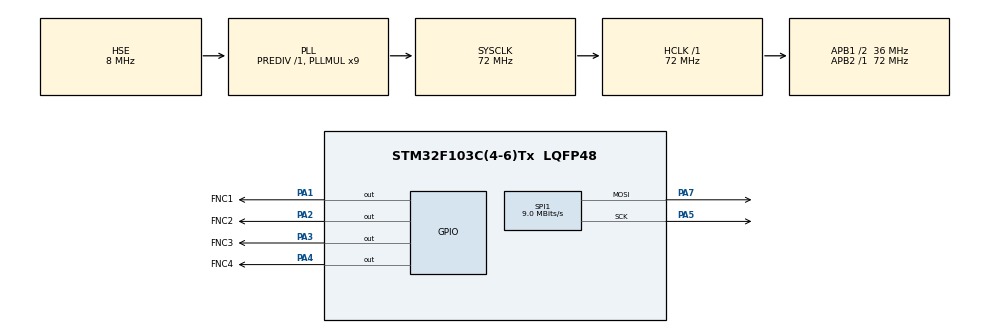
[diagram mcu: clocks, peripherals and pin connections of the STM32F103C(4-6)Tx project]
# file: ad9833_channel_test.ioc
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Mcu.Family=STM32F1
Mcu.Name=STM32F103C(4-6)Tx
Mcu.Package=LQFP48
NVIC.PriorityGroup=NVIC_PRIORITYGROUP_4
PA1.GPIO_Label=FNC1
PA1.GPIO_Speed=GPIO_SPEED_FREQ_HIGH
PA1.PinState=GPIO_PIN_SET
PA1.Signal=GPIO_Output
PA13.Mode=Serial_Wire
PA13.Signal=SYS_JTMS-SWDIO
PA14.Mode=Serial_Wire
PA14.Signal=SYS_JTCK-SWCLK
PA2.GPIO_Label=FNC2
PA2.GPIO_Speed=GPIO_SPEED_FREQ_HIGH
PA2.PinState=GPIO_PIN_SET
PA2.Signal=GPIO_Output
PA3.GPIO_Label=FNC3
PA3.GPIO_Speed=GPIO_SPEED_FREQ_HIGH
PA3.PinState=GPIO_PIN_SET
PA3.Signal=GPIO_Output
PA4.GPIO_Label=FNC4
PA4.GPIO_Speed=GPIO_SPEED_FREQ_HIGH
PA4.PinState=GPIO_PIN_SET
PA4.Signal=GPIO_Output
PA5.Mode=TX_Only_Simplex_Unidirect_Master
PA5.Signal=SPI1_SCK
PA7.Mode=TX_Only_Simplex_Unidirect_Master
PA7.Signal=SPI1_MOSI
PD0-OSC_IN.Mode=HSE-External-Oscillator
PD0-OSC_IN.Signal=RCC_OSC_IN
PD1-OSC_OUT.Mode=HSE-External-Oscillator
PD1-OSC_OUT.Signal=RCC_OSC_OUT
ProjectManager.HeapSize=0x200
ProjectManager.StackSize=0x400
ProjectManager.TargetToolchain=STM32CubeIDE
RCC.AHBFreq_Value=72000000
RCC.APB1CLKDivider=RCC_HCLK_DIV2
RCC.APB1Freq_Value=36000000
RCC.APB1TimFreq_Value=72000000
RCC.APB2Freq_Value=72000000
RCC.APB2TimFreq_Value=72000000
RCC.HCLKFreq_Value=72000000
RCC.PLLMUL=RCC_PLL_MUL9
RCC.PLLSourceVirtual=RCC_PLLSOURCE_HSE
RCC.SYSCLKFreq_VALUE=72000000
RCC.SYSCLKSource=RCC_SYSCLKSOURCE_PLLCLK
RCC.USBFreq_Value=72000000
SPI1.BaudRatePrescaler=SPI_BAUDRATEPRESCALER_8
SPI1.CLKPolarity=SPI_POLARITY_HIGH
SPI1.CalculateBaudRate=9.0 MBits/s
SPI1.DataSize=SPI_DATASIZE_8BIT
SPI1.Direction=SPI_DIRECTION_2LINES
SPI1.Mode=SPI_MODE_MASTER
SPI1.VirtualType=VM_MASTER
board=custom

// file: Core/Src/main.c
/* USER CODE BEGIN Header */
/**
  ******************************************************************************
  * @file           : main.c
  * @brief          : AD9833 Per-Channel Tester (STM32F103 + 4x AD9833)
  *                   Dikontrol secara real-time melalui debugger (Live Expressions)
  *
  * CARA PENGGUNAAN LEWAT DEBUGGER (STM32CubeIDE):
  * 1. Hubungkan ST-Link dan masuk ke mode Debug (ikon kumbang/bug).
  * 2. Buka tab "Live Expressions" (Window -> Show View -> Live Expressions).
  * 3. Tambahkan variabel berikut ke Live Expressions:
  *
  *    --- STATUS ON/OFF PER CHANNEL (1 = ON, 0 = OFF) ---
  *    ch1_on
  *    ch2_on
  *    ch3_on
  *    ch4_on
  *
  *    --- FREKUENSI PER CHANNEL (Nilai dalam Hz, misal 25000) ---
  *    ch1_freq
  *    ch2_freq
  *    ch3_freq
  *    ch4_freq
  *
  *    --- BENTUK GELOMBANG (0: Sinus, 1: Segitiga, 2: Kotak/Square) ---
  *    ch1_wave  (Default: 2 - Square DIV2 seperti di audio_jamm)
  *    ch2_wave
  *    ch3_wave
  *    ch4_wave
  *
  *    --- MONITOR DETAK/HEARTBEAT ---
  *    loop_counter (Nilai bertambah terus membuktikan MCU berjalan aktif)
  *
  * 4. Tekan "Resume" (F8) agar program berjalan.
  * 5. Ubah nilai variabel langsung di Live Expressions untuk menyalakan/mematikan
  *    atau mengganti frekuensi tiap channel secara independen.
  ******************************************************************************
  */
/* USER CODE END Header */
#include "main.h"

/* USER CODE BEGIN Includes */
#include <stdint.h>
#include <stdbool.h>
/* USER CODE END Includes */

SPI_HandleTypeDef hspi1;

/* USER CODE BEGIN PV */
#define NCH 4

/* =========================================================================
 * VARIABEL KONTROL DEBUG (Dapat diubah real-time di Live Expressions)
 * ========================================================================= */

/* Status On/Off masing-masing channel: 1 = ON, 0 = OFF */
volatile uint8_t  ch1_on   = 0;
volatile uint8_t  ch2_on   = 0;
volatile uint8_t  ch3_on   = 0;
volatile uint8_t  ch4_on   = 0;

/* Frekuensi masing-masing channel dalam Hertz (Hz) */
volatile uint32_t ch1_freq = 25000;
volatile uint32_t ch2_freq = 25000;
volatile uint32_t ch3_freq = 25000;
volatile uint32_t ch4_freq = 25000;

/* Bentuk gelombang (Waveform mode):
 * 0 = SINE     (Sinus)
 * 1 = TRIANGLE (Segitiga)
 * 2 = SQUARE   (Kotak / Square DIV2 50% duty, default audio_jamm)
 * 3 = SQUARE_D1(Kotak / Square direct)
 */
volatile uint8_t  ch1_wave = 2;
volatile uint8_t  ch2_wave = 2;
volatile uint8_t  ch3_wave = 2;
volatile uint8_t  ch4_wave = 2;

/* Counter detak pengujian (heartbeat) */
volatile uint32_t loop_counter = 0;

/* Mapping Pin FSYNC */
static GPIO_TypeDef* fnc_port[NCH];
static uint16_t      fnc_pin[NCH];

/* State pelacak perubahan nilai */
static uint8_t  last_on[NCH]   = { 0, 0, 0, 0 };
static uint32_t last_freq[NCH] = { 0, 0, 0, 0 };
static uint8_t  last_wave[NCH] = { 0, 0, 0, 0 };
/* USER CODE END PV */

void SystemClock_Config(void);
static void MX_GPIO_Init(void);
static void MX_SPI1_Init(void);

/* USER CODE BEGIN 0 */

/* ---------- Timing (DWT cycle counter) ---------- */
static void dwt_init(void) {
    CoreDebug->DEMCR |= CoreDebug_DEMCR_TRCENA_Msk;
    DWT->CYCCNT = 0;
    DWT->CTRL  |= DWT_CTRL_CYCCNTENA_Msk;
}

static inline void delay_us(uint32_t us) {
    uint32_t start  = DWT->CYCCNT;
    uint32_t cycles = us * (SystemCoreClock / 1000000UL);
    while ((DWT->CYCCNT - start) < cycles) { }
}

/* ---------- AD9833 Driver ---------- */

/* Kirim 16-bit word ke AD9833 melalui SPI1 */
static inline void ad_write(uint8_t ch, uint16_t w) {
    fnc_port[ch]->BRR = fnc_pin[ch];             /* FSYNC low  */
    while (!(SPI1->SR & SPI_SR_TXE)) { }
    SPI1->DR = (uint8_t)(w >> 8);
    while (!(SPI1->SR & SPI_SR_TXE)) { }
    SPI1->DR = (uint8_t)(w & 0xFF);
    while (!(SPI1->SR & SPI_SR_TXE)) { }
    while (SPI1->SR & SPI_SR_BSY) { }
    fnc_port[ch]->BSRR = fnc_pin[ch];            /* FSYNC high */
}

/* Dapatkan register kontrol AD9833 berdasarkan tipe gelombang */
static inline uint16_t get_ctrl_word(uint8_t wave) {
    switch (wave) {
        case 1:  return 0x2002; /* Triangle wave (OPBITEN=0, MODE=1) */
        case 2:  return 0x2028; /* Square wave DIV2 (50% duty, default audio_jamm) */
        case 3:  return 0x2020; /* Square wave direct MSB */
        case 0:
        default: return 0x2000; /* Sine wave (OPBITEN=0, MODE=0) */
    }
}

/* Set frekuensi ke register FREQ0 AD9833 (MCLK = 25 MHz) */
static inline void ad_set_freq(uint8_t ch, uint32_t f_hz) {
    /* freq_word = f * 2^28 / 25 MHz */
    uint32_t w = (uint32_t)(((uint64_t)f_hz * 268435456ULL + 12500000ULL) / 25000000ULL);
    ad_write(ch, (uint16_t)(0x4000 | (w & 0x3FFF)));
    ad_write(ch, (uint16_t)(0x4000 | ((w >> 14) & 0x3FFF)));
}

/* Inisialisasi pin dan AD9833 ke kondisi awal (semua OFF) */
static void ad_init_all(void) {
    fnc_port[0] = FNC1_GPIO_Port; fnc_pin[0] = FNC1_Pin;
    fnc_port[1] = FNC2_GPIO_Port; fnc_pin[1] = FNC2_Pin;
    fnc_port[2] = FNC3_GPIO_Port; fnc_pin[2] = FNC3_Pin;
    fnc_port[3] = FNC4_GPIO_Port; fnc_pin[3] = FNC4_Pin;

    for (uint8_t ch = 0; ch < NCH; ch++) {
        fnc_port[ch]->BSRR = fnc_pin[ch];        /* FSYNC idle HIGH */
    }
    HAL_Delay(50);

    /* Reset dan matikan semua modul AD9833 saat awal */
    for (uint8_t ch = 0; ch < NCH; ch++) {
        ad_write(ch, 0x2140);                    /* RESET=1, SLEEP12=1 (DAC power down) */
        ad_set_freq(ch, 25000);
        ad_write(ch, 0xC000);                    /* PHASE0 = 0 */
    }
}
/* USER CODE END 0 */

int main(void)
{
  HAL_Init();
  SystemClock_Config();
  MX_GPIO_Init();
  MX_SPI1_Init();

  /* USER CODE BEGIN 2 */
  dwt_init();
  __HAL_SPI_ENABLE(&hspi1);
  ad_init_all();
  /* USER CODE END 2 */

  while (1)
  {

    /* USER CODE BEGIN 3 */
    /* Array pointer ke variabel debug per channel */
    volatile uint8_t*  p_on[NCH]   = { &ch1_on,   &ch2_on,   &ch3_on,   &ch4_on };
    volatile uint32_t* p_freq[NCH] = { &ch1_freq, &ch2_freq, &ch3_freq, &ch4_freq };
    volatile uint8_t*  p_wave[NCH] = { &ch1_wave, &ch2_wave, &ch3_wave, &ch4_wave };

    for (uint8_t i = 0; i < NCH; i++)
    {
      uint8_t  cur_on   = (*p_on[i] != 0) ? 1 : 0;
      uint32_t cur_freq = *p_freq[i];
      uint8_t  cur_wave = *p_wave[i];

      /* Proteksi batas frekuensi (1 Hz s/d 12.5 MHz) */
      if (cur_freq == 0) cur_freq = 1;
      if (cur_freq > 12500000UL) cur_freq = 12500000UL;

      /* Cek jika status ON / OFF berubah */
      if (cur_on != last_on[i])
      {
        last_on[i]   = cur_on;
        last_freq[i] = cur_freq;
        last_wave[i] = cur_wave;

        if (cur_on)
        {
          /* Nyalakan channel: set frekuensi, fase, lalu aktifkan gelombang */
          ad_write(i, 0x2100);                    /* Reset aktif saat setting register */
          ad_set_freq(i, cur_freq);
          ad_write(i, 0xC000);                    /* Phase = 0 */
          ad_write(i, get_ctrl_word(cur_wave));   /* Keluar reset dengan waveform terpilih */
        }
        else
        {
          /* Matikan channel: masukkan ke RESET dan SLEEP DAC */
          ad_write(i, 0x2140);
        }
      }
      /* Jika channel sedang ON, cek perubahan frekuensi atau waveform secara on-the-fly */
      else if (cur_on)
      {
        if (cur_freq != last_freq[i])
        {
          last_freq[i] = cur_freq;
          ad_set_freq(i, cur_freq);               /* Update frekuensi secara langsung tanpa glitch */
        }

        if (cur_wave != last_wave[i])
        {
          last_wave[i] = cur_wave;
          ad_write(i, get_ctrl_word(cur_wave));   /* Update waveform */
        }
      }
    }

    loop_counter++;
    HAL_Delay(10); /* Delay 10 ms memberikan ruang bandwidth SWD debug yang stabil dan responsif */
  }
  /* USER CODE END 3 */
}

void SystemClock_Config(void)
{
  RCC_OscInitTypeDef RCC_OscInitStruct = {0};
  RCC_ClkInitTypeDef RCC_ClkInitStruct = {0};

  RCC_OscInitStruct.OscillatorType = RCC_OSCILLATORTYPE_HSE;
  RCC_OscInitStruct.HSEState = RCC_HSE_ON;
  RCC_OscInitStruct.HSEPredivValue = RCC_HSE_PREDIV_DIV1;
  RCC_OscInitStruct.HSIState = RCC_HSI_ON;
  RCC_OscInitStruct.PLL.PLLState = RCC_PLL_ON;
  RCC_OscInitStruct.PLL.PLLSource = RCC_PLLSOURCE_HSE;
  RCC_OscInitStruct.PLL.PLLMUL = RCC_PLL_MUL9;
  if (HAL_RCC_OscConfig(&RCC_OscInitStruct) != HAL_OK)
  {
    Error_Handler();
  }

  RCC_ClkInitStruct.ClockType = RCC_CLOCKTYPE_HCLK|RCC_CLOCKTYPE_SYSCLK
                              |RCC_CLOCKTYPE_PCLK1|RCC_CLOCKTYPE_PCLK2;
  RCC_ClkInitStruct.SYSCLKSource = RCC_SYSCLKSOURCE_PLLCLK;
  RCC_ClkInitStruct.AHBCLKDivider = RCC_SYSCLK_DIV1;
  RCC_ClkInitStruct.APB1CLKDivider = RCC_HCLK_DIV2;
  RCC_ClkInitStruct.APB2CLKDivider = RCC_HCLK_DIV1;

  if (HAL_RCC_ClockConfig(&RCC_ClkInitStruct, FLASH_LATENCY_2) != HAL_OK)
  {
    Error_Handler();
  }
}

static void MX_SPI1_Init(void)
{
  hspi1.Instance = SPI1;
  hspi1.Init.Mode = SPI_MODE_MASTER;
  hspi1.Init.Direction = SPI_DIRECTION_2LINES;
  hspi1.Init.DataSize = SPI_DATASIZE_8BIT;
  hspi1.Init.CLKPolarity = SPI_POLARITY_HIGH;
  hspi1.Init.CLKPhase = SPI_PHASE_1EDGE;
  hspi1.Init.NSS = SPI_NSS_SOFT;
  hspi1.Init.BaudRatePrescaler = SPI_BAUDRATEPRESCALER_4;
  hspi1.Init.FirstBit = SPI_FIRSTBIT_MSB;
  hspi1.Init.TIMode = SPI_TIMODE_DISABLE;
  hspi1.Init.CRCCalculation = SPI_CRCCALCULATION_DISABLE;
  hspi1.Init.CRCPolynomial = 10;
  if (HAL_SPI_Init(&hspi1) != HAL_OK)
  {
    Error_Handler();
  }
}

static void MX_GPIO_Init(void)
{
  GPIO_InitTypeDef GPIO_InitStruct = {0};

  __HAL_RCC_GPIOD_CLK_ENABLE();
  __HAL_RCC_GPIOA_CLK_ENABLE();

  HAL_GPIO_WritePin(GPIOA, FNC1_Pin|FNC2_Pin|FNC3_Pin|FNC4_Pin, GPIO_PIN_SET);

  GPIO_InitStruct.Pin = FNC1_Pin|FNC2_Pin|FNC3_Pin|FNC4_Pin;
  GPIO_InitStruct.Mode = GPIO_MODE_OUTPUT_PP;
  GPIO_InitStruct.Pull = GPIO_NOPULL;
  GPIO_InitStruct.Speed = GPIO_SPEED_FREQ_HIGH;
  HAL_GPIO_Init(GPIOA, &GPIO_InitStruct);
}

void Error_Handler(void)
{
  __disable_irq();
  while (1)
  {
  }
}
